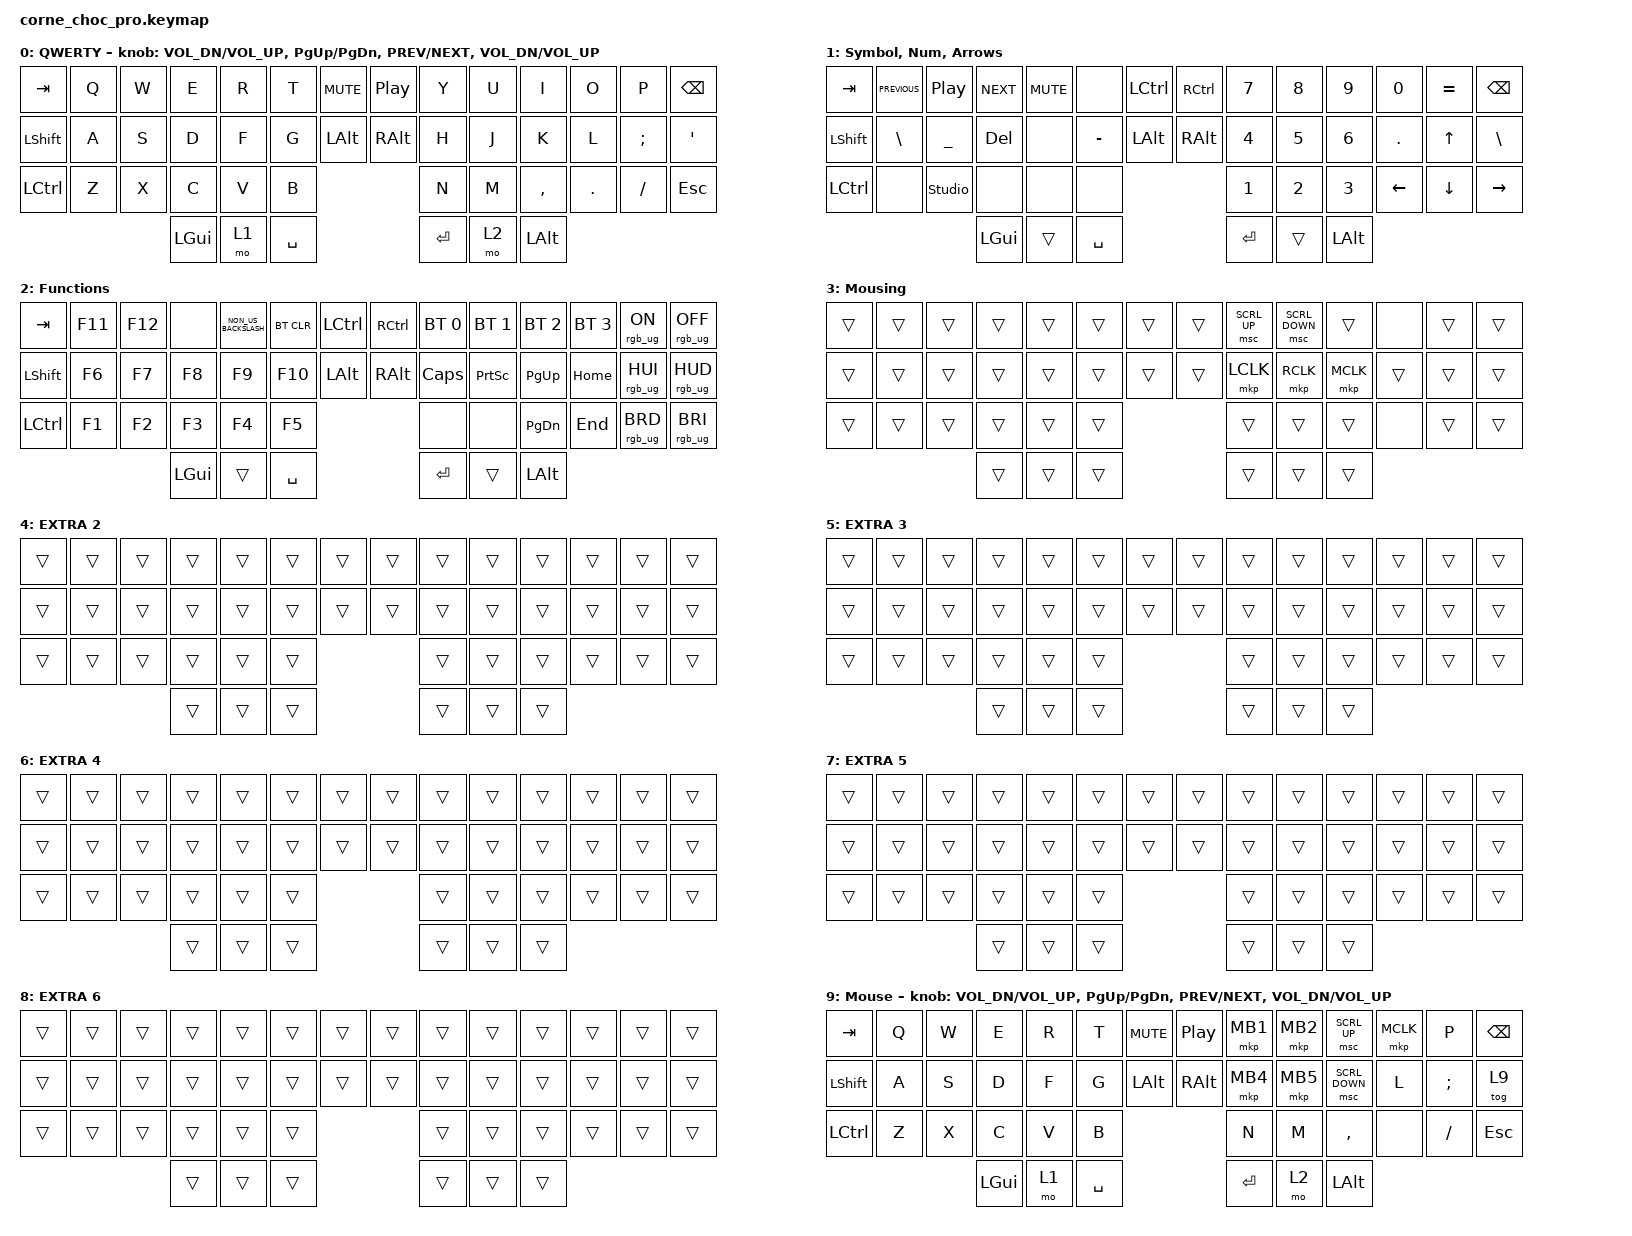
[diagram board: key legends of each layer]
/*
 * Copyright (c) 2020 The ZMK Contributors
 *
 * SPDX-License-Identifier: MIT
 */

#include <behaviors.dtsi>
#include <dt-bindings/zmk/bt.h>
#include <dt-bindings/zmk/keys.h>
#include <dt-bindings/zmk/pointing.h>
#include <dt-bindings/zmk/rgb.h>

/ {
    chosen { zmk,physical-layout = &default_layout; };
};

/ {
    keymap {
        compatible = "zmk,keymap";

        default_layer {
            display-name = "QWERTY";

            // --------------------------------------------------------------------------------
            // |  TAB |  Q  |  W  |  E  |  R  |  T  |  MUTE |  PP   |  Y  |  U   |  I  |  O  |  P  | BSPC |
            // | CTRL |  A  |  S  |  D  |  F  |  G  |  LALT |  RALT |  H  |  J   |  K  |  L  |  ;  |  '   |
            // | SHFT |  Z  |  X  |  C  |  V  |  B  |               |  N  |  M   |  ,  |  .  |  /  | ESC  |
            //                    | GUI | LWR | SPC |               | ENT | RSE  | ALT |

            bindings = <
&kp TAB           &kp Q  &kp W  &kp E     &kp R  &kp T      &kp C_MUTE  &kp C_PP  &kp Y    &kp U  &kp I      &kp O       &kp P     &kp BSPC
&kp LEFT_SHIFT    &kp A  &kp S  &kp D     &kp F  &kp G      &kp LALT    &kp RALT  &kp H    &kp J  &kp K      &kp L       &kp SEMI  &kp SQT
&kp LEFT_CONTROL  &kp Z  &kp X  &kp C     &kp V  &kp B                            &kp N    &kp M  &kp COMMA  &kp PERIOD  &kp FSLH  &kp ESCAPE
                                &kp LGUI  &mo 1  &kp SPACE                        &kp RET  &mo 2  &kp LALT
            >;

            sensor-bindings = <&inc_dec_kp C_VOL_DN C_VOL_UP &inc_dec_kp PG_UP PG_DN &inc_dec_kp C_PREV C_NEXT &inc_dec_kp C_VOL_DN C_VOL_UP>;
        };

        lower_layer {
            display-name = "Symbol, Num, Arrows";

            // -----------------------------------------------------------------------------------------
            // |  TAB |  1  |  2  |  3  |  4  |  5    |  LCTRL | RCTRL |  6  |  7  |  8  |  9  |  0  | BSPC |
            // | CTRL | BT1 | BT2 | BT3 | BT4 | BT5   |  LALT  | RALT  | LFT | DWN |  UP | RGT |     |      |
            // | SHFT | BTCR| RGB | RST | BOOT| Unlock|        |       |     |     |     |     |     |      |
            //                    | GUI |     | SPC   |        | ENT   |     | ALT |

            bindings = <
&kp TAB           &kp C_PREVIOUS  &kp C_PLAY_PAUSE  &kp C_NEXT  &kp C_MUTE  &none      &kp LCTRL  &kp RCTRL  &kp N7        &kp N8        &kp N9        &kp N0      &kp EQUAL     &kp BSPC
&kp LEFT_SHIFT    &kp BACKSLASH   &kp UNDER         &kp DEL     &none       &kp MINUS  &kp LALT   &kp RALT   &kp NUMBER_4  &kp N5        &kp NUMBER_6  &kp PERIOD  &kp UP_ARROW  &kp BACKSLASH
&kp LEFT_CONTROL  &none           &studio_unlock    &none       &none       &none                            &kp NUMBER_1  &kp NUMBER_2  &kp NUMBER_3  &kp LEFT    &kp DOWN      &kp RIGHT
                                                    &kp LGUI    &trans      &kp SPACE                        &kp RET       &trans        &kp LEFT_ALT
            >;
        };

        raise_layer {
            display-name = "Functions";

            // -----------------------------------------------------------------------------------------
            // |  TAB |  !  |  @  |  #  |  $  |  %  | LCTRL | RCTRL |  ^  |  &  |  *  |  (  |  )  | BSPC |
            // | CTRL | HUD | HUI |     |     |     |  LALT | RALT  |  -  |  =  |  [  |  ]  |  \  |  `   |
            // | SHFT |     |     |     |     |     |               |  _  |  +  |  {  |  }  | "|" |  ~   |
            //                    | GUI |     | SPC |               | ENT |     | ALT |

            bindings = <
&kp TAB           &kp F11  &kp F12  &none     &kp NON_US_BACKSLASH  &bt BT_CLR  &kp LCTRL  &kp RCTRL  &bt BT_SEL 0  &bt BT_SEL 1     &bt BT_SEL 2  &bt BT_SEL 3  &rgb_ug RGB_ON   &rgb_ug RGB_OFF
&kp LEFT_SHIFT    &kp F6   &kp F7   &kp F8    &kp F9                &kp F10     &kp LALT   &kp RALT   &kp CAPS      &kp PRINTSCREEN  &kp PG_UP     &kp HOME      &rgb_ug RGB_HUI  &rgb_ug RGB_HUD
&kp LEFT_CONTROL  &kp F1   &kp F2   &kp F3    &kp F4                &kp F5                            &none         &none            &kp PG_DN     &kp END       &rgb_ug RGB_BRD  &rgb_ug RGB_BRI
                                    &kp LGUI  &trans                &kp SPACE                         &kp RET       &trans           &kp LEFT_ALT
            >;
        };

        extra_layer_1 {
            display-name = "Mousing";
            bindings = <
&trans  &trans  &trans  &trans  &trans  &trans  &trans  &trans  &msc SCRL_UP  &msc SCRL_DOWN  &trans     &none   &trans  &trans
&trans  &trans  &trans  &trans  &trans  &trans  &trans  &trans  &mkp LCLK     &mkp RCLK       &mkp MCLK  &trans  &trans  &trans
&trans  &trans  &trans  &trans  &trans  &trans                  &trans        &trans          &trans     &none   &trans  &trans
                        &trans  &trans  &trans                  &trans        &trans          &trans
            >;
        };

        extra_layer_2 {
            display-name = "EXTRA 2";
            bindings = <
&trans  &trans  &trans  &trans  &trans  &trans  &trans  &trans  &trans  &trans  &trans  &trans  &trans  &trans
&trans  &trans  &trans  &trans  &trans  &trans  &trans  &trans  &trans  &trans  &trans  &trans  &trans  &trans
&trans  &trans  &trans  &trans  &trans  &trans                  &trans  &trans  &trans  &trans  &trans  &trans
                        &trans  &trans  &trans                  &trans  &trans  &trans
            >;
        };

        extra_layer_3 {
            display-name = "EXTRA 3";
            bindings = <
&trans  &trans  &trans  &trans  &trans  &trans  &trans  &trans  &trans  &trans  &trans  &trans  &trans  &trans
&trans  &trans  &trans  &trans  &trans  &trans  &trans  &trans  &trans  &trans  &trans  &trans  &trans  &trans
&trans  &trans  &trans  &trans  &trans  &trans                  &trans  &trans  &trans  &trans  &trans  &trans
                        &trans  &trans  &trans                  &trans  &trans  &trans
            >;
        };

        extra_layer_4 {
            display-name = "EXTRA 4";
            bindings = <
&trans  &trans  &trans  &trans  &trans  &trans  &trans  &trans  &trans  &trans  &trans  &trans  &trans  &trans
&trans  &trans  &trans  &trans  &trans  &trans  &trans  &trans  &trans  &trans  &trans  &trans  &trans  &trans
&trans  &trans  &trans  &trans  &trans  &trans                  &trans  &trans  &trans  &trans  &trans  &trans
                        &trans  &trans  &trans                  &trans  &trans  &trans
            >;
        };

        extra_layer_5 {
            display-name = "EXTRA 5";
            bindings = <
&trans  &trans  &trans  &trans  &trans  &trans  &trans  &trans  &trans  &trans  &trans  &trans  &trans  &trans
&trans  &trans  &trans  &trans  &trans  &trans  &trans  &trans  &trans  &trans  &trans  &trans  &trans  &trans
&trans  &trans  &trans  &trans  &trans  &trans                  &trans  &trans  &trans  &trans  &trans  &trans
                        &trans  &trans  &trans                  &trans  &trans  &trans
            >;
        };

        extra_layer_6 {
            display-name = "EXTRA 6";
            bindings = <
&trans  &trans  &trans  &trans  &trans  &trans  &trans  &trans  &trans  &trans  &trans  &trans  &trans  &trans
&trans  &trans  &trans  &trans  &trans  &trans  &trans  &trans  &trans  &trans  &trans  &trans  &trans  &trans
&trans  &trans  &trans  &trans  &trans  &trans                  &trans  &trans  &trans  &trans  &trans  &trans
                        &trans  &trans  &trans                  &trans  &trans  &trans
            >;
        };

        layer_9 {
            display-name = "Mouse";
            bindings = <
&kp TAB           &kp Q  &kp W  &kp E     &kp R  &kp T      &kp C_MUTE  &kp C_PP  &mkp MB1  &mkp MB2  &msc SCRL_UP    &mkp MCLK  &kp P     &kp BSPC
&kp LEFT_SHIFT    &kp A  &kp S  &kp D     &kp F  &kp G      &kp LALT    &kp RALT  &mkp MB4  &mkp MB5  &msc SCRL_DOWN  &kp L      &kp SEMI  &tog 9
&kp LEFT_CONTROL  &kp Z  &kp X  &kp C     &kp V  &kp B                            &kp N     &kp M     &kp COMMA       &none      &kp FSLH  &kp ESCAPE
                                &kp LGUI  &mo 1  &kp SPACE                        &kp RET   &mo 2     &kp LALT
            >;

            sensor-bindings =
                <&inc_dec_kp C_VOL_DN C_VOL_UP>,
                <&inc_dec_kp PG_UP PG_DN>,
                <&inc_dec_kp C_PREV C_NEXT>,
                <&inc_dec_kp C_VOL_DN C_VOL_UP>;
        };
    };
};
